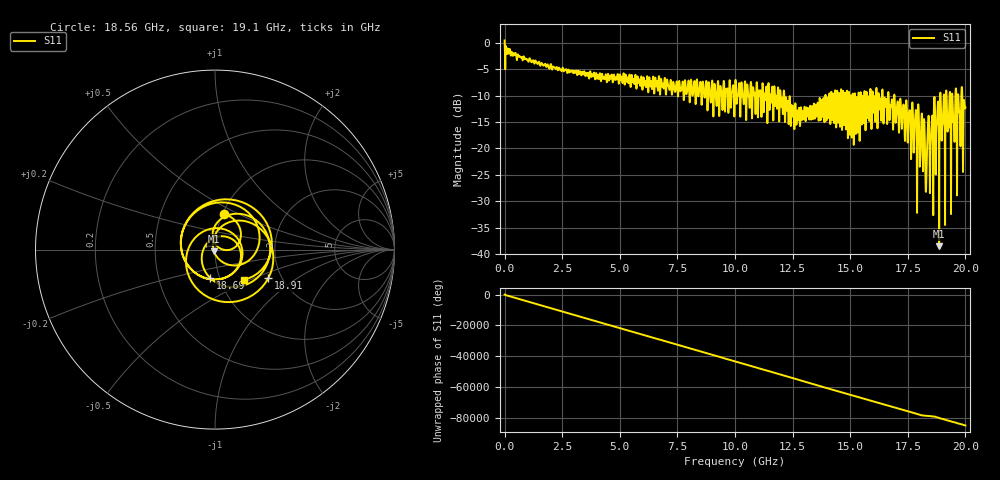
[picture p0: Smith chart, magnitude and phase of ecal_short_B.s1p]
! MS46122B
! 2250307/22442219
! 7/22/2025 3:13:40 PM
! C:\USERS\SPARKY\DOCUMENTS\VNA_DATA\JULY22_2025\295\ECAL_SHORT_B.S1P
! CHANNEL.1
! TR.MEASUREMENT
! RAW.DATA
# GHZ S RI R 50.0
! FREQ.GHZ  S11RE  S11IM
!; PortSelection: Port_1
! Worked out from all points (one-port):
!   10001 points, 1 MHz to 20 GHz, reference 50 ohm
!   lowest |S11| = -38.5 dB at 18.86 GHz (marker M1), VSWR 1.02, Z = 49.4 - j1.04 ohm
!   |S11| at or under -10 dB: 12.14 GHz to 13.92 GHz (1.781 GHz wide, 13.7 % of centre); 16.67 GHz to 16.91 GHz (236.2 MHz wide, 1.41 % of centre); 16.92 GHz to 18.9 GHz (1.978 GHz wide, 11 % of centre) (the widest 3 of 73)
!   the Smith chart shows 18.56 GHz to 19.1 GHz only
!   S11 on the Smith chart (normalised r, x): 18.56 GHz: 1.02, +0.42; 18.69 GHz: 0.90, -0.29; 18.91 GHz: 1.71, -0.61; 19.1 GHz: 1.29, -0.46
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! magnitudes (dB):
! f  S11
! 1 MHz  0.4
! 2.501 GHz  -5.0
! 5.001 GHz  -6.0
! 7.501 GHz  -8.4
! 10 GHz  -8.4
! 11.79 GHz  -10.0
! 12.5 GHz  -13.9
! 14.27 GHz  -9.6
! 15 GHz  -13.9
! 16.32 GHz  -10.8
! 17.5 GHz  -18.8
! 17.57 GHz  -12.9
! 17.78 GHz  -17.6
! 17.83 GHz  -14.0
! 17.9 GHz  -25.2
! 17.98 GHz  -13.6
! 18.16 GHz  -23.7
! 18.24 GHz  -19.4
! 18.56 GHz  -13.8
! 18.69 GHz  -15.9
! 18.79 GHz  -13.2
! 18.86 GHz  -38.5
! 18.91 GHz  -9.4
! 19.1 GHz  -12.7
! 19.45 GHz  -12.5
! 19.51 GHz  -15.3
! 19.56 GHz  -11.5
! 20 GHz  -12.3
